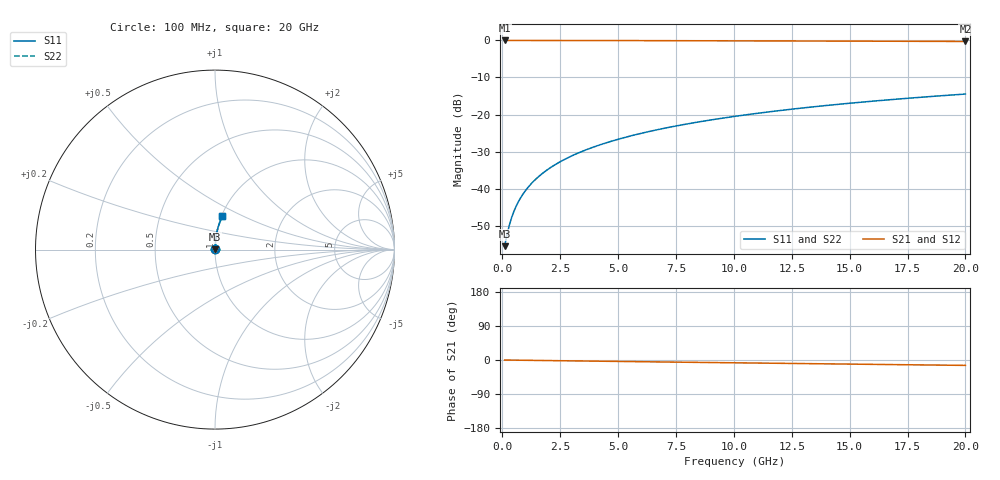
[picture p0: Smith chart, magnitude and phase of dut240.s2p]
! Touchstone file exported from HFSS 2024.1.0
!  File:  C:/UserFiles/LocalFiles/RDL_TSV_Batchsim/temp_RDL_bottom_240_1778701227.aedt
!  Generated:  03:43:05 AM May 14, 2026
!  Design:  RDL_bottom
!  Project:  temp_RDL_bottom_240_1778701227
!  Setup:  Setup1
!  Solution:  Sweep
! Variables:
!  dtsv = 10.80580581um
!  hbump = 3um
!  htsv = 84.07um
!  ldown = 137.98um
!  lrdl = 100um
!  p = 40
!  p1 = 50.38um
!  rhole = 1um
!  t = 450um
!  tdown = 2.95um
!  trdl = 3.915915916um
!  wdown = 14.32um
!  wrdl = 20um
# GHz S MA R 50.000000
! Terminal data exported
! Port[1] = RDL1_T1
! Port[2] = RDL1_T2
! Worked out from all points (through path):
!   200 points, 100 MHz to 20 GHz, reference 50 ohm
!   highest |S21| = -0.01 dB at 100 MHz (marker M1); lowest = -0.3 dB at 20 GHz (marker M2)
!   group delay of S21, straight-line fit = 1.97 ps
!   lowest |S11| = -55.5 dB at 100 MHz (marker M3), VSWR 1.00, Z = 50.1 + j0.096 ohm
!   |S11| at or under -10 dB: start of sweep to end of sweep
!   |S22| runs from -55.5 to -14.5 dB; largest |S21 - S12| = 3e-15
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0.1  0.001678 34.8  0.9986 -0.1  0.9986 -0.1  0.001678 34.8
! Gamma 0 0 0 0
! Port Impedance 50 0 50 0
0.2  0.002366 53.8  0.9986 -0.2  0.9986 -0.2  0.002366 53.8
0.3  0.003187 63.4  0.9986 -0.2  0.9986 -0.2  0.003187 63.4
0.4  0.004054 68.9  0.9985 -0.3  0.9985 -0.3  0.004054 68.9
0.5  0.004937 72.4  0.9985 -0.4  0.9985 -0.4  0.004937 72.4
0.6  0.005827 74.9  0.9984 -0.5  0.9984 -0.5  0.005827 74.9
0.8  0.007617 78.1  0.9984 -0.6  0.9984 -0.6  0.007617 78.1
1.1  0.01032 80.9  0.9982 -0.9  0.9982 -0.9  0.01032 80.9
1.5  0.01395 82.9  0.9981 -1.2  0.9981 -1.2  0.01395 82.9
1.8  0.01668 83.9  0.9979 -1.4  0.9979 -1.4  0.01668 83.9
2.1  0.01943 84.5  0.9977 -1.6  0.9977 -1.6  0.01943 84.5
2.7  0.02495 85.3  0.9973 -2.1  0.9973 -2.1  0.02495 85.3
3.5  0.03235 85.9  0.9966 -2.7  0.9966 -2.7  0.03235 85.9
4.2  0.03888 86.0  0.9959 -3.2  0.9959 -3.2  0.03888 86.0
5  0.04639 86.0  0.995 -3.8  0.995 -3.8  0.04639 86.0
5.9  0.05489 85.9  0.9938 -4.5  0.9938 -4.5  0.05489 85.9
6.8  0.06345 85.6  0.9926 -5.1  0.9926 -5.1  0.06345 85.6
8.3  0.07781 85.0  0.9903 -6.2  0.9903 -6.2  0.07782 85.0
10.1  0.09513 84.0  0.9873 -7.5  0.9873 -7.5  0.09514 84.0
13.4  0.1269 81.9  0.9813 -9.8  0.9813 -9.8  0.1269 81.9
16.7  0.1583 79.7  0.9748 -12.0  0.9748 -12.0  0.1583 79.7
20  0.1891 77.4  0.9678 -14.2  0.9678 -14.2  0.1891 77.4
